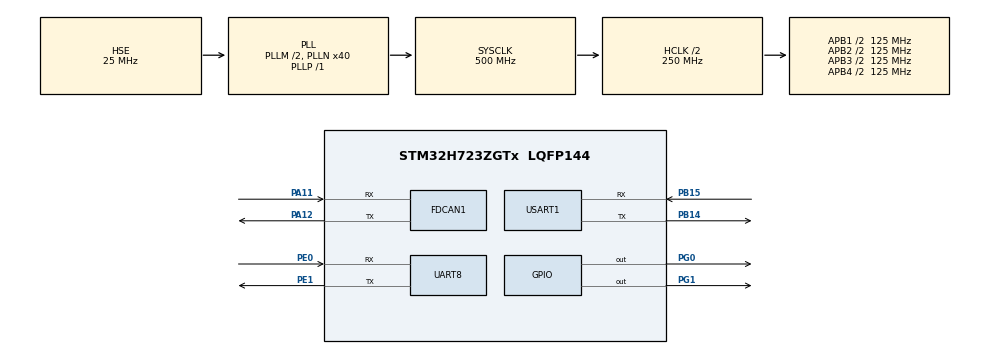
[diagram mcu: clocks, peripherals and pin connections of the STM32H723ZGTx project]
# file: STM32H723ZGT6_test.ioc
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CORTEX_M7.CPU_ICache=Enabled
CORTEX_M7.MPU_Control=__NULL
CORTEX_M7.default_mode_Activation=1
FDCAN1.CalculateBaudRateNominal=1000000
FDCAN1.CalculateTimeBitNominal=1000
FDCAN1.CalculateTimeQuantumNominal=200.0
FDCAN1.Mode=FDCAN_MODE_NORMAL
FDCAN1.NominalPrescaler=25
FDCAN1.NominalTimeSeg1=2
FDCAN1.NominalTimeSeg2=2
FDCAN1.RxFifo0ElmtsNbr=3
FDCAN1.StdFiltersNbr=1
FDCAN1.TxFifoQueueElmtsNbr=3
Mcu.Family=STM32H7
Mcu.Name=STM32H723ZGTx
Mcu.Package=LQFP144
NVIC.PriorityGroup=NVIC_PRIORITYGROUP_4
PA11.Mode=FDCAN_Activate
PA11.Signal=FDCAN1_RX
PA12.Mode=FDCAN_Activate
PA12.Signal=FDCAN1_TX
PA13(JTMS/SWDIO).Mode=Serial_Wire
PA13(JTMS/SWDIO).Signal=DEBUG_JTMS-SWDIO
PA14(JTCK/SWCLK).Mode=Serial_Wire
PA14(JTCK/SWCLK).Signal=DEBUG_JTCK-SWCLK
PB14.Mode=Asynchronous
PB14.Signal=USART1_TX
PB15.Mode=Asynchronous
PB15.Signal=USART1_RX
PE0.Mode=Asynchronous
PE0.Signal=UART8_RX
PE1.Mode=Asynchronous
PE1.Signal=UART8_TX
PG0.PinState=GPIO_PIN_SET
PG0.Signal=GPIO_Output
PG1.Signal=GPIO_Output
PH0-OSC_IN.Mode=HSE-External-Oscillator
PH0-OSC_IN.Signal=RCC_OSC_IN
PH1-OSC_OUT.Mode=HSE-External-Oscillator
PH1-OSC_OUT.Signal=RCC_OSC_OUT
ProjectManager.HeapSize=0x200
ProjectManager.StackSize=0x400
ProjectManager.TargetToolchain=MDK-ARM V5.32
RCC.ADCFreq_Value=50390625
RCC.APB1Freq_Value=125000000
RCC.APB2Freq_Value=125000000
RCC.APB3Freq_Value=125000000
RCC.APB4Freq_Value=125000000
RCC.CortexFreq_Value=500000000
RCC.D1PPRE=RCC_APB3_DIV2
RCC.D2PPRE1=RCC_APB1_DIV2
RCC.D2PPRE2=RCC_APB2_DIV2
RCC.D3PPRE=RCC_APB4_DIV2
RCC.DIVM1=2
RCC.DIVN1=40
RCC.DIVP1=1
RCC.DIVQ1=4
RCC.HCLKFreq_Value=250000000
RCC.HPRE=RCC_HCLK_DIV2
RCC.PLLFRACN=0
RCC.PLLSourceVirtual=RCC_PLLSOURCE_HSE
RCC.SYSCLKFreq_VALUE=500000000
RCC.SYSCLKSource=RCC_SYSCLKSOURCE_PLLCLK
RCC.USBFreq_Value=125000000
USART1.VirtualMode-Asynchronous=VM_ASYNC
VP_MEMORYMAP_VS_MEMORYMAP.Mode=CurAppReg
board=custom

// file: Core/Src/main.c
/* USER CODE BEGIN Header */
/**
  ******************************************************************************
  * @file           : main.c
  * @brief          : Main program body
  ******************************************************************************
  * @attention
  *
  * Copyright (c) 2026 STMicroelectronics.
  * All rights reserved.
  *
  * This software is licensed under terms that can be found in the LICENSE file
  * in the root directory of this software component.
  * If no LICENSE file comes with this software, it is provided AS-IS.
  *
  ******************************************************************************
  */
/* USER CODE END Header */
#include "main.h"
#include "fdcan.h"
#include "memorymap.h"
#include "usart.h"
#include "gpio.h"

/* USER CODE BEGIN Includes */
#include <stdio.h>
#include <string.h>
#include "m2006_poll.h"
/* USER CODE END Includes */

/* USER CODE BEGIN PV */

char tx_buf[128] = "Hello STM32 UART!\r\n";
uint8_t rx_buf[10];
volatile HAL_StatusTypeDef tx_status;

uint8_t can_tx_data[8] = {
    0x11, 0x22, 0x33, 0x44, 0x55, 0x66, 0x77, 0x88
};

uint8_t can_rx_data[8] = {0};
FDCAN_RxHeaderTypeDef can_rx_header;

/* 0：未完成；1：通过；2：收到但内容不一致 */
volatile uint8_t can_test_result = 0;

M2006_Feedback motor_feedback;
volatile HAL_StatusTypeDef motor_rx_status;
volatile HAL_StatusTypeDef motor_tx_status;
volatile uint32_t motor_request = 0; /* 1=尝试使能一次；2=停止 */
volatile uint8_t motor_enable_ok = 0;
volatile float motor_target_rpm = 0.0f;

extern volatile uint32_t can_raw_rx_count;
extern volatile uint32_t can_last_rx_id;
int motor_current =0;

/* USER CODE END PV */

void SystemClock_Config(void);

/* USER CODE BEGIN 0 */

//	void CAN_Init(FDCAN_HandleTypeDef *hfdcan)
//	{
//		FDCAN_FilterTypeDef CAN_FilterConfig = {0};
//		HAL_StatusTypeDef HAL_Status;

//		if (hfdcan->Instance == FDCAN1)
//			{
//				// ---- 配置 FDCAN1 的过滤器 ----
//				CAN_FilterConfig.IdType = FDCAN_STANDARD_ID;              // 标准 ID (11位)
//				CAN_FilterConfig.FilterIndex = 0;                         // 使用第 0 个过滤器
//				CAN_FilterConfig.FilterType = FDCAN_FILTER_MASK;          // 掩码模式
//				CAN_FilterConfig.FilterConfig = FDCAN_FILTER_TO_RXFIFO0;  // 匹配的帧放入 RX FIFO0
//				CAN_FilterConfig.FilterID1 = 0x000;                       // 期望匹配的 ID (这里写0)
//				CAN_FilterConfig.FilterID2 = 0x000;                       // 掩码 (全0表示放行所有ID)
//
//				// 应用过滤器配置
//				HAL_Status = HAL_FDCAN_ConfigFilter(hfdcan, &CAN_FilterConfig);
//				if (HAL_Status != HAL_OK) { Error_Handler(); }

//				// 配置全局过滤规则 (拒绝未匹配的帧，拒绝远程帧)
//				HAL_Status = HAL_FDCAN_ConfigGlobalFilter(hfdcan,
//														  FDCAN_REJECT, FDCAN_REJECT,
//														  FDCAN_REJECT_REMOTE, FDCAN_REJECT_REMOTE);
//				if (HAL_Status != HAL_OK) { Error_Handler(); }

//				// 启动 FDCAN1
//				HAL_Status = HAL_FDCAN_Start(hfdcan);
//				if (HAL_Status != HAL_OK) { Error_Handler(); }
//			}
//
//		 else
//			{
//				// 未知的 CAN 外设
//				Error_Handler();
//			}
//	}

///**
// * @brief  FDCAN 发送数据函数
// * @param  hfdcan: FDCAN 句柄指针（例如 &hfdcan1）
// * @param  pData:  要发送的数据数组指针
// * @param  ID:     标准帧 ID (11位，范围 0x000 ~ 0x7FF)
// * @retval 0: 成功加入发送队列; 2: 发送失败
// */
//uint8_t CAN_SendData(FDCAN_HandleTypeDef *hfdcan, uint8_t *pData, uint16_t ID)
//{
//    HAL_StatusTypeDef HAL_RetVal = HAL_ERROR;
//    FDCAN_TxHeaderTypeDef TxHeader = {0};

//    // 1. 配置发送帧头 (对应经典 CAN 的 TxMessage)
//    TxHeader.Identifier = ID;                         // 设置标准 ID
//    TxHeader.IdType = FDCAN_STANDARD_ID;              // 标准帧 (11位 ID)
//    TxHeader.TxFrameType = FDCAN_DATA_FRAME;          // 数据帧
//    TxHeader.DataLength = FDCAN_DLC_BYTES_8;          // 数据长度 8 字节 (FDCAN 必须用宏)
//    TxHeader.ErrorStateIndicator = FDCAN_ESI_ACTIVE;  // 错误状态指示 (通常填 ACTIVE)
//    TxHeader.BitRateSwitch = FDCAN_BRS_OFF;           // 不切换位速率 (经典 CAN 模式)
//    TxHeader.FDFormat = FDCAN_CLASSIC_CAN;            // 经典 CAN 格式 (非 FD)
//    TxHeader.TxEventFifoControl = FDCAN_NO_TX_EVENTS; // 不保存发送事件
//    TxHeader.MessageMarker = 0;                       // 消息标记 (用于追踪，这里不用)

//    // 2. 检查发送队列是否已满 (对应经典 CAN 的 GetTxMailboxesFreeLevel)
//    // FDCAN 通常有 3 个发送队列元素，这里检查是否有空位
//    // 如果队列满了，HAL_FDCAN_AddMessageToTxFifoQ 会返回 HAL_ERROR 或 HAL_BUSY
//    // 为了安全，我们可以加一个带超时的等待，防止卡死
//    uint32_t tickstart = HAL_GetTick();
//    while (HAL_FDCAN_GetTxFifoFreeLevel(hfdcan) == 0)
//    {
//        // 如果队列满了，等待最多 100ms
//        if ((HAL_GetTick() - tickstart) > 100)
//        {
//            return 2; // 超时，发送失败
//        }
//    }

//    // 3. 将消息加入发送队列 (对应经典 CAN 的 AddTxMessage)
//    HAL_RetVal = HAL_FDCAN_AddMessageToTxFifoQ(hfdcan, &TxHeader, pData);

//    if (HAL_RetVal != HAL_OK)
//    {
//        return 2; // 发送失败
//    }

//    return 0; // 成功加入发送队列
//}

/* USER CODE END 0 */

int main(void)
{

  /* Enable the CPU Cache */

  /* Enable I-Cache---------------------------------------------------------*/
  SCB_EnableICache();

  /* MCU Configuration--------------------------------------------------------*/

  /* Reset of all peripherals, Initializes the Flash interface and the Systick. */
  HAL_Init();

  /* Configure the system clock */
  SystemClock_Config();

  /* Initialize all configured peripherals */
  MX_GPIO_Init();
  MX_USART1_UART_Init();
  MX_FDCAN1_Init();
  MX_UART8_Init();
  /* USER CODE BEGIN 2 */

// 先全部塞在这里，后面再分。
//FDCAN_HandleTypeDef  hfdcan1

//	CAN_Init(&hfdcan1);

//	if (CAN_SendData(&hfdcan1, can_tx_data, 0x123) != 0)
//	{
//		Error_Handler();
//	}
	if (M2006_Init(&hfdcan1) != HAL_OK)
	{
		Error_Handler();
	}

   uint32_t control_tick = HAL_GetTick();
	static uint8_t started = 0;

  /* USER CODE END 2 */

  /* Infinite loop */
  /* USER CODE BEGIN WHILE */
  while (1)
  {

	motor_rx_status = M2006_Poll();
	M2006_ReadFeedback(&motor_feedback);

	if (!started && M2006_IsOnline())
    {
        if (M2006_Enable())          /* 在线才使能 */
        {
            started = 1;
        }
    }

    if (started)
    {
		    M2006_Set_I(motor_current);            /* 原始值 300 = 0.3A，小电流试 */
    }

	sprintf(tx_buf, "%d, %d\r\n", motor_feedback.RotorSpeedRPM,motor_feedback.Encoder );
	tx_status = HAL_UART_Transmit(&huart8, (uint8_t *)tx_buf, strlen(tx_buf), 100);

	//HAL_Delay(1);
//	uint32_t start_time = HAL_GetTick();

//	/* 等待接收队列中出现一帧 */
//	while (HAL_FDCAN_GetRxFifoFillLevel(
//			   &hfdcan1, FDCAN_RX_FIFO0) == 0U)
//	{
//		if ((uint32_t)(HAL_GetTick() - start_time) >= 100U)
//		{
//			Error_Handler();   // 等了 100 ms 仍然没有收到
//		}
//	}

//	/* 从接收队列取出这一帧 */
//	if (HAL_FDCAN_GetRxMessage(
//			&hfdcan1,
//			FDCAN_RX_FIFO0,
//			&can_rx_header,
//			can_rx_data) != HAL_OK)
//	{
//		Error_Handler();
//	}

//	/* 比较帧类型、ID、长度和数据 */
//	if (can_rx_header.IdType == FDCAN_STANDARD_ID &&
//		can_rx_header.RxFrameType == FDCAN_DATA_FRAME &&
//		can_rx_header.Identifier == 0x123U &&
//		can_rx_header.DataLength == FDCAN_DLC_BYTES_8 &&
//		memcmp(can_tx_data, can_rx_data, 8) == 0)
//	{
//		can_test_result = 1;
//	}
//	else
//	{
//		can_test_result = 2;
//	}

	  //HAL_UART_Receive(&huart8, rx_buf, 10, 10000);
//	tx_status = HAL_UART_Transmit(&huart8, (uint8_t *)tx_buf, strlen(tx_buf), 100);
//	HAL_Delay(10);

    /* USER CODE END WHILE */

  }
}

void SystemClock_Config(void)
{
  RCC_OscInitTypeDef RCC_OscInitStruct = {0};
  RCC_ClkInitTypeDef RCC_ClkInitStruct = {0};

  /** Supply configuration update enable
  */
  HAL_PWREx_ConfigSupply(PWR_LDO_SUPPLY);

  /** Configure the main internal regulator output voltage
  */
  __HAL_PWR_VOLTAGESCALING_CONFIG(PWR_REGULATOR_VOLTAGE_SCALE0);

  while(!__HAL_PWR_GET_FLAG(PWR_FLAG_VOSRDY)) {}

  /** Initializes the RCC Oscillators according to the specified parameters
  * in the RCC_OscInitTypeDef structure.
  */
  RCC_OscInitStruct.OscillatorType = RCC_OSCILLATORTYPE_HSE;
  RCC_OscInitStruct.HSEState = RCC_HSE_ON;
  RCC_OscInitStruct.PLL.PLLState = RCC_PLL_ON;
  RCC_OscInitStruct.PLL.PLLSource = RCC_PLLSOURCE_HSE;
  RCC_OscInitStruct.PLL.PLLM = 2;
  RCC_OscInitStruct.PLL.PLLN = 40;
  RCC_OscInitStruct.PLL.PLLP = 1;
  RCC_OscInitStruct.PLL.PLLQ = 4;
  RCC_OscInitStruct.PLL.PLLR = 2;
  RCC_OscInitStruct.PLL.PLLRGE = RCC_PLL1VCIRANGE_3;
  RCC_OscInitStruct.PLL.PLLVCOSEL = RCC_PLL1VCOWIDE;
  RCC_OscInitStruct.PLL.PLLFRACN = 0;
  if (HAL_RCC_OscConfig(&RCC_OscInitStruct) != HAL_OK)
  {
    Error_Handler();
  }

  /** Initializes the CPU, AHB and APB buses clocks
  */
  RCC_ClkInitStruct.ClockType = RCC_CLOCKTYPE_HCLK|RCC_CLOCKTYPE_SYSCLK
                              |RCC_CLOCKTYPE_PCLK1|RCC_CLOCKTYPE_PCLK2
                              |RCC_CLOCKTYPE_D3PCLK1|RCC_CLOCKTYPE_D1PCLK1;
  RCC_ClkInitStruct.SYSCLKSource = RCC_SYSCLKSOURCE_PLLCLK;
  RCC_ClkInitStruct.SYSCLKDivider = RCC_SYSCLK_DIV1;
  RCC_ClkInitStruct.AHBCLKDivider = RCC_HCLK_DIV2;
  RCC_ClkInitStruct.APB3CLKDivider = RCC_APB3_DIV2;
  RCC_ClkInitStruct.APB1CLKDivider = RCC_APB1_DIV2;
  RCC_ClkInitStruct.APB2CLKDivider = RCC_APB2_DIV2;
  RCC_ClkInitStruct.APB4CLKDivider = RCC_APB4_DIV2;

  if (HAL_RCC_ClockConfig(&RCC_ClkInitStruct, FLASH_LATENCY_3) != HAL_OK)
  {
    Error_Handler();
  }
}

void Error_Handler(void)
{
  __disable_irq();
  while (1)
  {
  }
}
